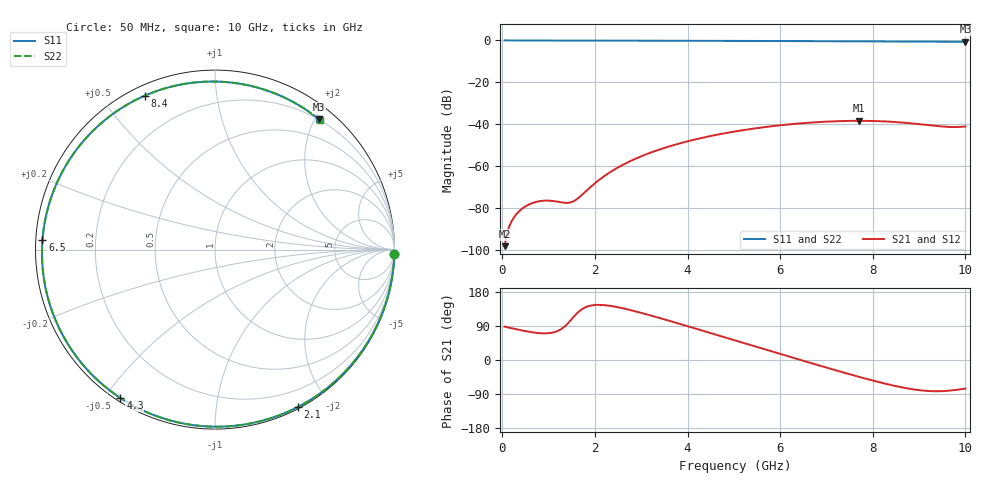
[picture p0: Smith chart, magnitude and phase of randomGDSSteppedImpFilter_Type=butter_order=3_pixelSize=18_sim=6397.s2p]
! freq	dB(S11)	phase(S11)	dB(S12)	phase(S12)
!  dB(S21)	phase(S21)	dB(S22)	phase(S22)
!S-par simulation data
#  GHz  S  DB  R 50
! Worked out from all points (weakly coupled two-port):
!   200 points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, 50 MHz to 10 GHz, reference 50 ohm
!   highest |S21| = -38.30 dB at 7.7 GHz (marker M1); lowest = -98.0 dB at 50 MHz (marker M2)
!   lowest |S11| = -0.6 dB at 10 GHz (marker M3), VSWR 26.95, Z = 9.83 + j103 ohm
!   |S11| at or under -10 dB: nowhere
!   |S22| runs from -0.6 to 0.0 dB; largest |S21 - S12| = 0
!   S11 on the Smith chart (normalised r, x): 50 MHz: 2, -75; 2.1 GHz: 0.02, -1.66; 4.3 GHz: 0.01, -0.55; 6.5 GHz: 0.02, +0.03; 8.4 GHz: 0.04, +0.64; 10 GHz: 0.20, +2.06
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0.05  -0.01 -1.5  -98.01 88.0  -98.01 88.0  -0.01 -1.5
0.45  -0.02 -13.7  -79.79 77.4  -79.79 77.4  -0.02 -13.7
0.65  -0.02 -19.7  -77.48 73.1  -77.48 73.1  -0.02 -19.7
0.9  -0.03 -27.2  -76.34 70.3  -76.34 70.3  -0.03 -27.2
1.45  -0.06 -43.4  -77.30 101.2  -77.30 101.2  -0.06 -43.5
1.75  -0.07 -52.2  -72.99 136.2  -72.99 136.2  -0.07 -52.2
2.1  -0.08 -62.2  -66.29 145.5  -66.29 145.5  -0.08 -62.2
2.65  -0.10 -77.7  -58.73 135.2  -58.73 135.2  -0.10 -77.7
3.4  -0.13 -98.3  -51.93 110.7  -51.93 110.7  -0.13 -98.3
4.3  -0.17 -122.5  -46.48 78.4  -46.48 78.4  -0.17 -122.5
5.05  -0.22 -142.6  -43.27 50.9  -43.27 50.9  -0.22 -142.6
5.8  -0.27 -163.1  -40.92 23.4  -40.92 23.4  -0.27 -163.2
6.5  -0.33 176.9  -39.39 -2.1  -39.39 -2.1  -0.33 176.8
6.7  -0.35 170.9  -39.07 -9.3  -39.07 -9.3  -0.35 170.8
7.2  -0.40 155.5  -38.50 -27.1  -38.50 -27.1  -0.40 155.4
7.7  -0.45 139.2  -38.30 -44.4  -38.30 -44.4  -0.45 139.0
8.35  -0.51 116.4  -38.68 -64.8  -38.68 -64.8  -0.51 116.2
8.4  -0.51 114.6  -38.74 -66.2  -38.74 -66.2  -0.51 114.3
8.8  -0.55 99.5  -39.42 -76.0  -39.42 -76.0  -0.55 99.3
9.2  -0.58 83.9  -40.35 -81.8  -40.35 -81.8  -0.58 83.6
9.6  -0.62 67.8  -41.15 -81.5  -41.15 -81.5  -0.62 67.4
10  -0.64 51.4  -40.98 -75.4  -40.98 -75.4  -0.64 51.0
